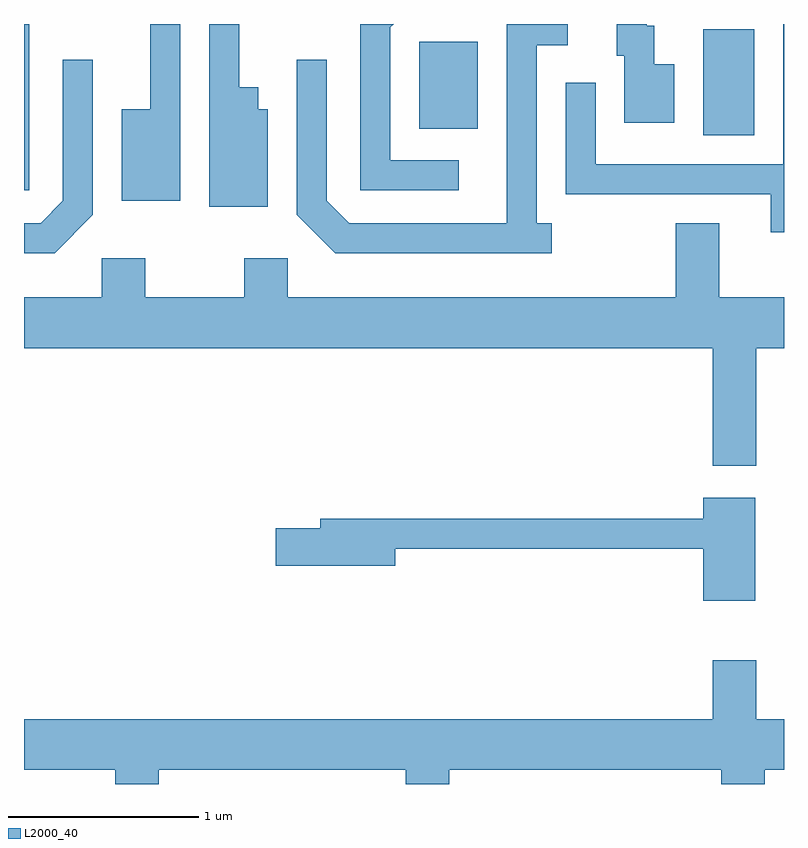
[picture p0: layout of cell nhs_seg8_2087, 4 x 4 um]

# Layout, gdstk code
import gdstk
lib = gdstk.Library(unit=1e-6, precision=1e-09)
def R(c, l, rs):  # rectangles x0, y0, x1, y1
    for r in rs: c.add(gdstk.rectangle(r[:2], r[2:], *l))
def P(c, l, *ps):  # polygons
    for p in ps: c.add(gdstk.Polygon(p, *l))
L2000_40 = (2000, 40)

nhs_seg8_2087 = lib.new_cell('nhs_seg8_2087')
R(nhs_seg8_2087, L2000_40, [(247.611,1839.466,247.639,1840.342), (251.186,1839.756,251.454,1840.314), (249.691,1839.791,249.999,1840.249)])
P(nhs_seg8_2087, L2000_40, [(249.898,1839.624),(249.539,1839.624),(249.539,1840.324),(249.557,1840.342),(249.381,1840.342),(249.381,1839.466),(249.898,1839.466)],
  [(248.434,1840.342),(248.276,1840.342),(248.276,1839.894),(248.126,1839.894),(248.126,1839.411),(248.434,1839.411)],
  [(248.894,1839.894),(248.844,1839.894),(248.844,1840.009),(248.744,1840.009),(248.744,1840.342),(248.586,1840.342),(248.586,1839.381),(248.894,1839.381)],
  [(250.388,1839.294),(250.309,1839.294),(250.309,1840.231),(250.473,1840.231),(250.473,1840.342),(250.151,1840.342),(250.151,1839.294),(249.322,1839.294),(249.204,1839.412),(249.204,1840.153),(249.046,1840.153),(249.046,1839.339),(249.249,1839.136),(250.388,1839.136)],
  [(251.034,1840.129),(250.929,1840.129),(250.929,1840.334),(250.889,1840.334),(250.889,1840.342),(250.731,1840.342),(250.731,1840.176),(250.771,1840.176),(250.771,1839.821),(251.034,1839.821)],
  [(251.611,1840.342),(251.606,1840.342),(251.606,1839.604),(250.619,1839.604),(250.619,1840.033),(250.461,1840.033),(250.461,1839.446),(251.541,1839.446),(251.541,1839.246),(251.611,1839.246)],
  [(247.974,1839.339),(247.974,1840.153),(247.816,1840.153),(247.816,1839.412),(247.699,1839.294),(247.611,1839.294),(247.611,1839.136),(247.772,1839.136)],
  [(251.464,1838.636),(251.611,1838.636),(251.611,1838.904),(251.269,1838.904),(251.269,1839.294),(251.041,1839.294),(251.041,1838.904),(248.999,1838.904),(248.999,1839.109),(248.771,1839.109),(248.771,1838.904),(248.249,1838.904),(248.249,1839.109),(248.021,1839.109),(248.021,1838.904),(247.611,1838.904),(247.611,1838.636),(251.236,1838.636),(251.236,1838.016),(251.464,1838.016)],
  [(251.459,1837.849),(251.186,1837.849),(251.186,1837.739),(249.171,1837.739),(249.171,1837.689),(248.936,1837.689),(248.936,1837.491),(249.564,1837.491),(249.564,1837.581),(251.186,1837.581),(251.186,1837.306),(251.459,1837.306)],
  [(248.319,1836.416),(249.621,1836.416),(249.621,1836.342),(249.849,1836.342),(249.849,1836.416),(251.281,1836.416),(251.281,1836.342),(251.509,1836.342),(251.509,1836.416),(251.611,1836.416),(251.611,1836.684),(251.464,1836.684),(251.464,1836.994),(251.236,1836.994),(251.236,1836.684),(247.611,1836.684),(247.611,1836.416),(248.091,1836.416),(248.091,1836.342),(248.319,1836.342)])

lib.write_gds('nhs_seg8_2087.gds')
